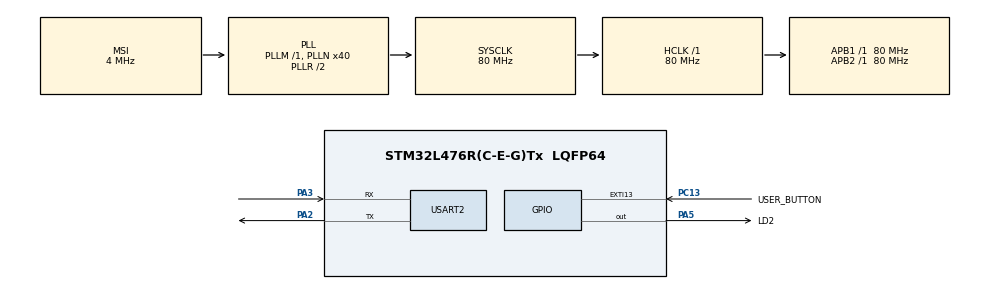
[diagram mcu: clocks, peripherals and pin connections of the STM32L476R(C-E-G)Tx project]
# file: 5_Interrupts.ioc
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Mcu.Family=STM32L4
Mcu.Name=STM32L476R(C-E-G)Tx
Mcu.Package=LQFP64
NVIC.EXTI15_10_IRQn=true\:8\:0\:true\:false\:true\:true\:true\:true
NVIC.PriorityGroup=NVIC_PRIORITYGROUP_4
NVIC.USART2_IRQn=true\:12\:0\:true\:false\:true\:true\:true\:true
PA13\ (JTMS-SWDIO).Mode=Serial_Wire
PA13\ (JTMS-SWDIO).Signal=SYS_JTMS-SWDIO
PA14\ (JTCK-SWCLK).Mode=Serial_Wire
PA14\ (JTCK-SWCLK).Signal=SYS_JTCK-SWCLK
PA2.Mode=Asynchronous
PA2.Signal=USART2_TX
PA3.Mode=Asynchronous
PA3.Signal=USART2_RX
PA5.GPIO_Label=LD2
PA5.Signal=GPIO_Output
PC13.GPIO_Label=USER_BUTTON
PC13.GPIO_ModeDefaultEXTI=GPIO_MODE_IT_FALLING
PC13.Signal=GPXTI13
PC14-OSC32_IN\ (PC14).Mode=LSE-External-Oscillator
PC14-OSC32_IN\ (PC14).Signal=RCC_OSC32_IN
PC15-OSC32_OUT\ (PC15).Mode=LSE-External-Oscillator
PC15-OSC32_OUT\ (PC15).Signal=RCC_OSC32_OUT
ProjectManager.HeapSize=0x200
ProjectManager.StackSize=0x400
ProjectManager.TargetToolchain=STM32CubeIDE
RCC.AHBFreq_Value=80000000
RCC.APB1Freq_Value=80000000
RCC.APB1TimFreq_Value=80000000
RCC.APB2Freq_Value=80000000
RCC.APB2TimFreq_Value=80000000
RCC.CortexFreq_Value=80000000
RCC.HCLKFreq_Value=80000000
RCC.HSE_VALUE=8000000
RCC.HSI_VALUE=16000000
RCC.MSI_VALUE=4000000
RCC.PLLN=40
RCC.SYSCLKFreq_VALUE=80000000
RCC.SYSCLKSource=RCC_SYSCLKSOURCE_PLLCLK
RCC.VCOOutputFreq_Value=160000000
USART2.VirtualMode-Asynchronous=VM_ASYNC
board=custom

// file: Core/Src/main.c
/* USER CODE BEGIN Header */
/**
  ******************************************************************************
  * @file           : main.c
  * @brief          : Main program body
  ******************************************************************************
  * @attention
  *
  * Copyright (c) 2024 STMicroelectronics.
  * All rights reserved.
  *
  * This software is licensed under terms that can be found in the LICENSE file
  * in the root directory of this software component.
  * If no LICENSE file comes with this software, it is provided AS-IS.
  *
  ******************************************************************************
  */
/* USER CODE END Header */
#include "main.h"

/* USER CODE BEGIN Includes */
#include <stdio.h>
#include <string.h>
/* USER CODE END Includes */

/* USER CODE BEGIN PTD */
typedef enum {
	MESSAGE_1,
	MESSAGE_2,
	DONE
}sender_state;
/* USER CODE END PTD */

UART_HandleTypeDef huart2;

void SystemClock_Config(void);
static void MX_GPIO_Init(void);
static void MX_USART2_UART_Init(void);

/* USER CODE BEGIN 0 */
int __io_putchar(int ch) {

	if (ch == '\n') {
		__io_putchar('\r');
	}

	HAL_UART_Transmit(&huart2, (uint8_t*)&ch, 1, HAL_MAX_DELAY);

	return 1;
}
//Volatile znaczy ulotny.
//Oznacza to, że kompilator wyłączy dla takiej zmiennej optymalizacje typu zastąpienia przez stałą
//lub zawartość rejestru, a zmusi kompilator do każdorazowego odwołania do pamięci. Główna pętla
//naszego programu nie modyfikuje tej zmiennej, dlatego optymalizator mógłby założyć, że jest to
//stała, której wartość wynosi zero. Taki program nie działałby poprawnie. Użycie volatile sprawia
//, że optymalizator nie próbuje swoich sztuczek w odniesieniu do tej zmiennej.
volatile uint32_t push_counter;

//Obsługa przerwania od pinów (w naszym przypadku przycisk b1):
HAL_GPIO_EXTI_Callback(uint16_t GPIO_Pin) {

	if(GPIO_Pin == USER_BUTTON_Pin) {
		push_counter++;
	}

}

sender_state message_number = MESSAGE_1;

void send_text_message(void) {

	static char message[] = "Hello world!\r\n";
	static char message2[] = "Wiadomosc 2!\r\n";

	switch(message_number) {
	case MESSAGE_1:
		HAL_UART_Transmit_IT(&huart2, (uint8_t*)message, strlen(message));
		message_number = 1;
		break;
	case MESSAGE_2:
		HAL_UART_Transmit_IT(&huart2, (uint8_t*)message2, strlen(message2));
		message_number = 2;
		break;
	default:
		break;
	}
}

//Funkcja wywolywana po wyslaniu danych przez UART:
void HAL_UART_TxCpltCallback(UART_HandleTypeDef *huart) {

	if(huart == &huart2) {
		send_text_message();
	}

}

//Przetwarzanie odebranych danych przez UART:
#define LINE_MAX_LENGTH 80

static char line_buffer[LINE_MAX_LENGTH + 1];
static uint32_t line_length;

void line_append(uint8_t value)
{
  if (value == '\r' || value == '\n') {
    // odebraliśmy znak końca linii
    if (line_length > 0) {
      // dodajemy 0 na końcu linii
      line_buffer[line_length] = '\0';
      // przetwarzamy dane
      if (strcmp(line_buffer, "on") == 0) {
        HAL_GPIO_WritePin(LD2_GPIO_Port, LD2_Pin, GPIO_PIN_SET);
      } else if (strcmp(line_buffer, "off") == 0) {
        HAL_GPIO_WritePin(LD2_GPIO_Port, LD2_Pin, GPIO_PIN_RESET);
      }

      // zaczynamy zbieranie danych od nowa
      line_length = 0;
    }
  }
  else {
    if (line_length >= LINE_MAX_LENGTH) {
      // za dużo danych, usuwamy wszystko co odebraliśmy dotychczas
      line_length = 0;
    }
    // dopisujemy wartość do bufora
    line_buffer[line_length++] = value;
  }
}

uint8_t uart_rx_buffer;

void HAL_UART_RxCpltCallback(UART_HandleTypeDef *huart) {

	if(huart == &huart2) {
		line_append(uart_rx_buffer);
		HAL_UART_Receive_IT(&huart2, &uart_rx_buffer, 1);
	}
}

/* USER CODE END 0 */

int main(void)
{

  /* MCU Configuration--------------------------------------------------------*/

  /* Reset of all peripherals, Initializes the Flash interface and the Systick. */
  HAL_Init();

  /* Configure the system clock */
  SystemClock_Config();

  /* Initialize all configured peripherals */
  MX_GPIO_Init();
  MX_USART2_UART_Init();
  /* USER CODE BEGIN 2 */

  //Rozpoczecie transmisji przez UART z przerwaniamiL
  send_text_message();

  HAL_UART_Receive_IT(&huart2, &uart_rx_buffer, 1);
  /* USER CODE END 2 */

  /* Infinite loop */
  /* USER CODE BEGIN WHILE */
  uint32_t old_push_counter = push_counter;
  while (1)
  {
	  if(push_counter != old_push_counter) {
		  old_push_counter = push_counter;
		  printf("button counter: %lu\n", old_push_counter);
	  }

    /* USER CODE END WHILE */

  }
}

void SystemClock_Config(void)
{
  RCC_OscInitTypeDef RCC_OscInitStruct = {0};
  RCC_ClkInitTypeDef RCC_ClkInitStruct = {0};

  /** Configure the main internal regulator output voltage
  */
  if (HAL_PWREx_ControlVoltageScaling(PWR_REGULATOR_VOLTAGE_SCALE1) != HAL_OK)
  {
    Error_Handler();
  }

  /** Configure LSE Drive Capability
  */
  HAL_PWR_EnableBkUpAccess();
  __HAL_RCC_LSEDRIVE_CONFIG(RCC_LSEDRIVE_LOW);

  /** Initializes the RCC Oscillators according to the specified parameters
  * in the RCC_OscInitTypeDef structure.
  */
  RCC_OscInitStruct.OscillatorType = RCC_OSCILLATORTYPE_LSE|RCC_OSCILLATORTYPE_MSI;
  RCC_OscInitStruct.LSEState = RCC_LSE_ON;
  RCC_OscInitStruct.MSIState = RCC_MSI_ON;
  RCC_OscInitStruct.MSICalibrationValue = 0;
  RCC_OscInitStruct.MSIClockRange = RCC_MSIRANGE_6;
  RCC_OscInitStruct.PLL.PLLState = RCC_PLL_ON;
  RCC_OscInitStruct.PLL.PLLSource = RCC_PLLSOURCE_MSI;
  RCC_OscInitStruct.PLL.PLLM = 1;
  RCC_OscInitStruct.PLL.PLLN = 40;
  RCC_OscInitStruct.PLL.PLLP = RCC_PLLP_DIV7;
  RCC_OscInitStruct.PLL.PLLQ = RCC_PLLQ_DIV2;
  RCC_OscInitStruct.PLL.PLLR = RCC_PLLR_DIV2;
  if (HAL_RCC_OscConfig(&RCC_OscInitStruct) != HAL_OK)
  {
    Error_Handler();
  }

  /** Initializes the CPU, AHB and APB buses clocks
  */
  RCC_ClkInitStruct.ClockType = RCC_CLOCKTYPE_HCLK|RCC_CLOCKTYPE_SYSCLK
                              |RCC_CLOCKTYPE_PCLK1|RCC_CLOCKTYPE_PCLK2;
  RCC_ClkInitStruct.SYSCLKSource = RCC_SYSCLKSOURCE_PLLCLK;
  RCC_ClkInitStruct.AHBCLKDivider = RCC_SYSCLK_DIV1;
  RCC_ClkInitStruct.APB1CLKDivider = RCC_HCLK_DIV1;
  RCC_ClkInitStruct.APB2CLKDivider = RCC_HCLK_DIV1;

  if (HAL_RCC_ClockConfig(&RCC_ClkInitStruct, FLASH_LATENCY_4) != HAL_OK)
  {
    Error_Handler();
  }

  /** Enable MSI Auto calibration
  */
  HAL_RCCEx_EnableMSIPLLMode();
}

static void MX_USART2_UART_Init(void)
{

  huart2.Instance = USART2;
  huart2.Init.BaudRate = 115200;
  huart2.Init.WordLength = UART_WORDLENGTH_8B;
  huart2.Init.StopBits = UART_STOPBITS_1;
  huart2.Init.Parity = UART_PARITY_NONE;
  huart2.Init.Mode = UART_MODE_TX_RX;
  huart2.Init.HwFlowCtl = UART_HWCONTROL_NONE;
  huart2.Init.OverSampling = UART_OVERSAMPLING_16;
  huart2.Init.OneBitSampling = UART_ONE_BIT_SAMPLE_DISABLE;
  huart2.AdvancedInit.AdvFeatureInit = UART_ADVFEATURE_NO_INIT;
  if (HAL_UART_Init(&huart2) != HAL_OK)
  {
    Error_Handler();
  }

}

static void MX_GPIO_Init(void)
{
  GPIO_InitTypeDef GPIO_InitStruct = {0};

  /* GPIO Ports Clock Enable */
  __HAL_RCC_GPIOC_CLK_ENABLE();
  __HAL_RCC_GPIOA_CLK_ENABLE();

  /*Configure GPIO pin Output Level */
  HAL_GPIO_WritePin(LD2_GPIO_Port, LD2_Pin, GPIO_PIN_RESET);

  /*Configure GPIO pin : USER_BUTTON_Pin */
  GPIO_InitStruct.Pin = USER_BUTTON_Pin;
  GPIO_InitStruct.Mode = GPIO_MODE_IT_FALLING;
  GPIO_InitStruct.Pull = GPIO_NOPULL;
  HAL_GPIO_Init(USER_BUTTON_GPIO_Port, &GPIO_InitStruct);

  /*Configure GPIO pin : LD2_Pin */
  GPIO_InitStruct.Pin = LD2_Pin;
  GPIO_InitStruct.Mode = GPIO_MODE_OUTPUT_PP;
  GPIO_InitStruct.Pull = GPIO_NOPULL;
  GPIO_InitStruct.Speed = GPIO_SPEED_FREQ_LOW;
  HAL_GPIO_Init(LD2_GPIO_Port, &GPIO_InitStruct);

  /* EXTI interrupt init*/
  HAL_NVIC_SetPriority(EXTI15_10_IRQn, 8, 0);
  HAL_NVIC_EnableIRQ(EXTI15_10_IRQn);

}

void Error_Handler(void)
{
  __disable_irq();
  while (1)
  {
  }
}
